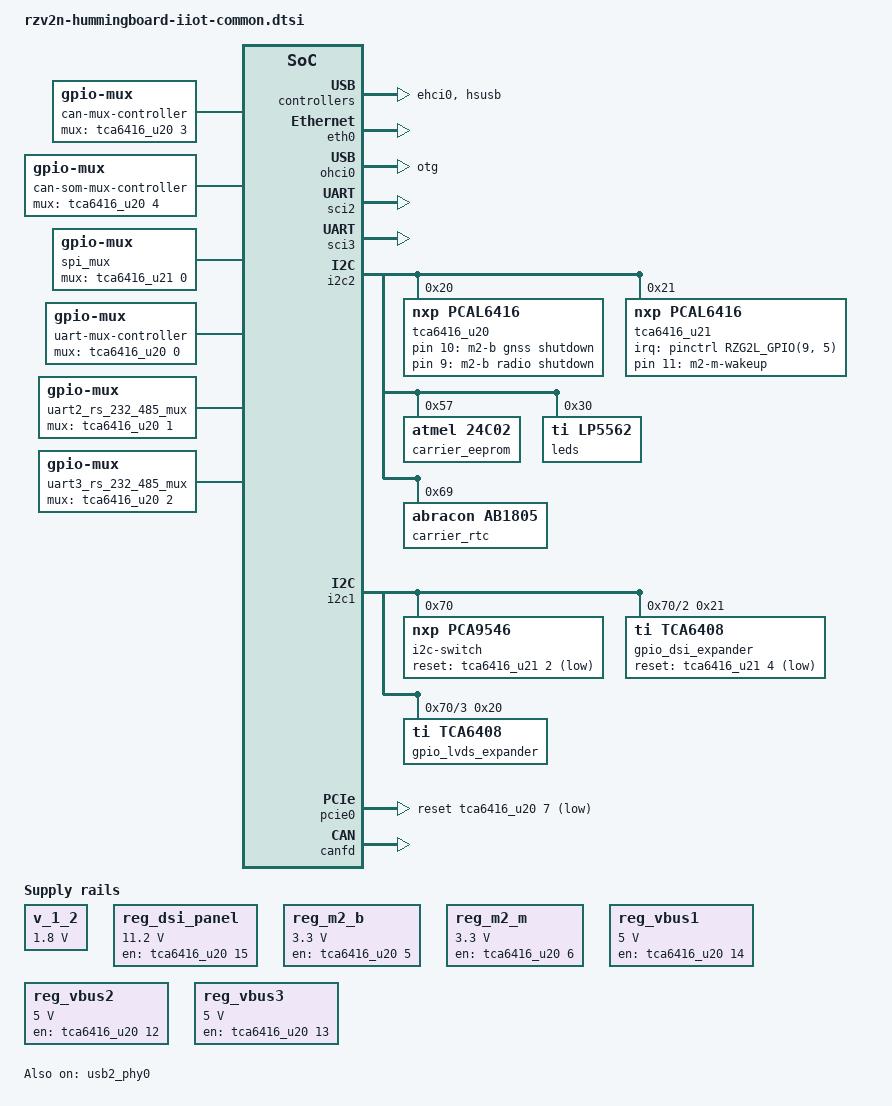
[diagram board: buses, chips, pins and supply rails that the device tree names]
// SPDX-License-Identifier: (GPL-2.0-only OR BSD-2-Clause)
/*
* Device Tree Source for the RZ Solidrun HummingBoard IIoT
*
* Copyright (C) 2025 SolidRun Ltd.
*/

#include <dt-bindings/gpio/gpio.h>
#include <dt-bindings/pinctrl/rzg2l-pinctrl.h>
#include <dt-bindings/leds/common.h>

/ {
	aliases {
		i2c3 = &i2c_exp;
		i2c4 = &i2c_csi;
		i2c5 = &i2c_dsi;
		i2c6 = &i2c_lvds;
		rtc0 = &carrier_rtc;
  		rtc1 = &raa215300; /* pmic_rtc */
		gpio1 = &gpio_dsi_expander;
		gpio2 = &gpio_lvds_expander;
		gpio3 = &tca6416_u20;
		gpio4 = &tca6416_u21;
	};

	v_1_2: regulator-1-2 {
		compatible = "regulator-fixed";
		regulator-name = "1v2";
		regulator-min-microvolt = <1800000>;
		regulator-max-microvolt = <1800000>;
	};

	reg_dsi_panel: regulator-dsi-panel {
		compatible = "regulator-fixed";
		regulator-name = "dsi-panel";
		regulator-min-microvolt = <11200000>;
		regulator-max-microvolt = <11200000>;
		gpios = <&tca6416_u20 15 GPIO_ACTIVE_HIGH>;
		enable-active-high;
	};

	/* power for M.2 B-Key connector (J6) */
	reg_m2_b: regulator-m2-b {
		compatible = "regulator-fixed";
		regulator-name = "m2-b";
		regulator-min-microvolt = <3300000>;
		regulator-max-microvolt = <3300000>;
		gpios = <&tca6416_u20 5 GPIO_ACTIVE_HIGH>;
		enable-active-high;
		regulator-always-on;
	};

	/* power for M.2 M-Key connector (J4) */
	reg_m2_m: regulator-m2-m {
		compatible = "regulator-fixed";
		regulator-name = "m2-m";
		regulator-min-microvolt = <3300000>;
		regulator-max-microvolt = <3300000>;
		gpios = <&tca6416_u20 6 GPIO_ACTIVE_HIGH>;
		enable-active-high;
		regulator-always-on;
	};

	/* power for USB-A J5003 */
	reg_vbus1: regulator-vbus-1 {
		compatible = "regulator-fixed";
		regulator-name = "vbus1";
		gpio = <&tca6416_u20 14 GPIO_ACTIVE_HIGH>;
		regulator-min-microvolt = <5000000>;
		regulator-max-microvolt = <5000000>;
		enable-active-high;
		regulator-always-on;
	};

	/* power for USB-A J27 behind USB Hub Port 3 */
	reg_vbus2: regulator-vbus-2 {
		compatible = "regulator-fixed";
		regulator-name = "vbus2";
		gpio = <&tca6416_u20 12 GPIO_ACTIVE_HIGH>;
		enable-active-high;
		regulator-min-microvolt = <5000000>;
		regulator-max-microvolt = <5000000>;
		regulator-always-on;
	};

	/* power for USB-A J27 behind USB Hub Port 4 */
	reg_vbus3: regulator-vbus-3 {
		compatible = "regulator-fixed";
		regulator-name = "vbus3";
		gpio = <&tca6416_u20 13 GPIO_ACTIVE_HIGH>;
		enable-active-high;
		regulator-min-microvolt = <5000000>;
		regulator-max-microvolt = <5000000>;
		regulator-always-on;
	};

	rfkill-m2-b-gnss {
		compatible = "rfkill-gpio";
		label = "m2-b gnss";
		radio-type = "gps";
		/* rfkill-gpio inverts internally */
		shutdown-gpios = <&tca6416_u20 10 GPIO_ACTIVE_HIGH>;
	};

	rfkill-m2-b-wwan {
		compatible = "rfkill-gpio";
		label = "m2-b radio";
		radio-type = "wwan";
		/* rfkill-gpio inverts internally */
		shutdown-gpios = <&tca6416_u20 9 GPIO_ACTIVE_HIGH>;
	};

	can-mux-controller {
		compatible = "gpio-mux";
		#mux-control-cells = <0>;
		/*
		 * Mux switches both flexcan1 and flexcan2 tx/rx between
		 * expansion connector (J22) and on-board transceivers
		 * using one GPIO: 0 = on-board, 1 connector.
		 */
		mux-gpios = <&tca6416_u20 3 GPIO_ACTIVE_HIGH>;
		/* default on-board */
		idle-state = <0>;
	};

	can-som-mux-controller {
		compatible = "gpio-mux";
		#mux-control-cells = <0>;
		/*
		 * Mux switches can bus between different SoM board-to-board
		 * connector pins which is used to support different SoMs.
		 * RZ/V2N uses J9-55/57 (CANA) and J9-59/61 (CANB) for 2x flexcan.
		 */
		mux-gpios = <&tca6416_u20 4 GPIO_ACTIVE_HIGH>;
		idle-state = <0>;
	};

	spi_mux: spi-mux-controller {
		compatible = "gpio-mux";
		#mux-control-cells = <0>;
		/*
		 * Mux switches spi bus between on-board tpm
		 * and expansion connector (J22).
		 */
		mux-gpios = <&tca6416_u21 0 GPIO_ACTIVE_HIGH>;
		/* default on-board */
		idle-state = <0>;
	};

	uart-mux-controller {
		compatible = "gpio-mux";
		#mux-control-cells = <0>;
		/*
		 * Mux switches both uart2 and uart3 tx/rx between expansion
		 * connector (J22) and on-board rs232/rs485 transceivers
		 * using one GPIO: 0 = on-board, 1 connector.
		 */
		mux-gpios = <&tca6416_u20 0 GPIO_ACTIVE_HIGH>;
		/* default on-board */
		idle-state = <0>;
	};

	uart2_rs_232_485_mux: uart2-rs-232-485-mux-controller {
		compatible = "gpio-mux";
		#mux-control-cells = <0>;
		/*
		 * Mux switches uart2 tx/rx between rs232 and rs485
		 * transceivers. using one GPIO: 0 = rs232; 1 = rs485.
		 */
		mux-gpios = <&tca6416_u20 1 GPIO_ACTIVE_HIGH>;
		/* default rs232 */
		idle-state = <0>;
	};

	uart3_rs_232_485_mux: uart3-rs-232-485-mux-controller {
		compatible = "gpio-mux";
		#mux-control-cells = <0>;
		/*
		 * Mux switches uart3 tx/rx between rs232 and rs485
		 * transceivers. using one GPIO: 0 = rs232; 1 = rs485.
		 */
		mux-gpios = <&tca6416_u20 2 GPIO_ACTIVE_HIGH>;
		/* default rs232 */
		idle-state = <0>;
	};

	gpio-keys {
		compatible = "gpio-keys";
		#address-cells = <1>;
		#size-cells = <0>;
		m2-m-wakeup {
			label = "m2-m-wakeup";
			interrupts-extended = <&tca6416_u21 11 IRQ_TYPE_EDGE_FALLING>;
			linux,code = <KEY_WAKEUP>;
			wakeup-source;
		};
	};
};

&pinctrl {
	spi0_pins_no_ss: spi0 {
		pinmux = <RZG2L_PORT_PINMUX(9, 0, 1)>, /* MOSIA */
		<RZG2L_PORT_PINMUX(9, 1, 1)>, /* MISOA */
		<RZG2L_PORT_PINMUX(9, 2, 1)>; /* RSPCK */
	};

	can0_pins_iiot: can0 {
	pinmux = <RZG2L_PORT_PINMUX(8, 0, 5)>, /* CAN_TX0 */
			<RZG2L_PORT_PINMUX(8, 1, 5)>; /* CAN_RX0 */
	};

	can1_pins_iiot: can1 {
	pinmux = <RZG2L_PORT_PINMUX(8, 2, 5)>, /* CAN_TX1 */
			<RZG2L_PORT_PINMUX(8, 3, 5)>; /* CAN_RX0 */
	};
};

&ehci0 {
	spurious-oc;
	status = "okay";
};

&ehci0 {
	spurious-oc;
	status = "okay";
};

&eth0 {
	status = "okay";
};

&hsusb {
	status = "okay";
};

&ohci0 {
	spurious-oc;
	dr_mode = "otg";
	status = "okay";
};

&usb2_phy0 {
	status = "okay";
};

/* UARTA (UART2) */
&sci2 {
	status = "okay";
};

/* UARTB (UART3) */
&sci3 {
	status = "okay";
};

/* Carrier I2C3 */
&i2c2 {
	status = "okay";

	tca6416_u20: gpio@20 {
		compatible = "nxp,pcal6416";
		reg = <0x20>;
		gpio-controller;
		#gpio-cells = <2>;
		gpio-line-names =
		"TCA_INT/EXT_UART",
		"TCA_UARTA_232/485",
		"TCA_UARTB_232/485",
		"TCA_INT/EXT_CAN",
		"TCA_NXP/REN",
		"TCA_M.2B_3V3_EN",
		"TCA_M.2M_3V3_EN",
		"TCA_M.2M_RESET#",
		"TCA_M.2B_RESET#",
		"TCA_M.2B_W_DIS#",
		"TCA_M.2B_GPS_EN#",
		"TCA_USB-HUB_RST#",
		"TCA_USB_HUB3_PWR_EN",
		"TCA_USB_HUB4_PWR_EN",
		"TCA_USB1_PWR_EN",
		"TCA_VIDEO_PWR_EN";

		/* M.2B-J6 Reset (M.2B_RESET U20_P[10]) */
		m2-b-reset-hog {
			gpio-hog;
			gpios = <8 GPIO_ACTIVE_LOW>;
			output-low;
			line-name = "m2-b-reset";
		};

		TCA_VIDEO_PWR_EN {
			gpio-hog;
			gpios = <15 GPIO_ACTIVE_HIGH>;
			output-high;
			line-name = "TCA_VIDEO_PWR_EN";
		};
	};

	tca6416_u21: gpio@21 {
		compatible = "nxp,pcal6416";
		reg = <0x21>;
		gpio-controller;
		#gpio-cells = <2>;
		interrupt-controller;
		#interrupt-cells = <2>;
		interrupts-extended = <&pinctrl RZG2L_GPIO(9, 5) IRQ_TYPE_LEVEL_LOW>; // IRQ_TYPE_EDGE_FALLING
		gpio-line-names =
		"TCA_SPI_TPM/EXT",
		"TCA_TPM_RST#",
		"TCA_I2C_RST",
		"TCA_RS232_SHTD#",
		"TCA_LCD_I2C_RST",
		"TCA_DIG_OUT1",
		"TCA_bDIG_IN1",
		"TCA_SENS_INT",
		"TCA_ALERT#",
		"TCA_TPM_PIRQ#",
		"TCA_RTC_INT",
		"TCA_M.2M_WAKW_ON_LAN",
		"TCA_M.2M_CLKREQ#",
		"TCA_LVDS_INT#",
		"TCA_NC",
		"TCA_POE_AT";

		rs232_shutdown: rs232-shutdown-hog {
			gpio-hog;
			gpios = <3 GPIO_ACTIVE_LOW>;
			output-low;
			line-name = "rs232-shutdown";
		};

		sensor-irq-hog {
			gpio-hog;
			gpios = <7 (GPIO_ACTIVE_LOW | GPIO_PULL_UP | GPIO_OPEN_DRAIN)>;
			input;
			line-name = "sensor-irq";
		};

		tpm-irq-hog {
			gpio-hog;
			gpios = <9 (GPIO_ACTIVE_LOW | GPIO_PULL_UP | GPIO_OPEN_DRAIN)>;
			input;
			line-name = "tpm-irq";
		};

		m2-m-clkreq-hog {
			gpio-hog;
			gpios = <12 GPIO_ACTIVE_LOW>;
			input;
			line-name = "m2-m-clkreq";
		};

		lvds-irq-hog {
			gpio-hog;
			gpios = <13 (GPIO_ACTIVE_LOW | GPIO_PULL_UP | GPIO_OPEN_DRAIN)>;
			input;
			line-name = "lvds-irq";
		};
	};

	carrier_eeprom: at24c02@57 {
		compatible = "atmel,24c02";
		reg = <0x57>;
	};

	leds: led-controller@30 {
		compatible = "ti,lp5562";
		reg = <0x30>;
		clock-mode = /bits/ 8 <1>;
		#address-cells = <1>;
		#size-cells = <0>;
		pwr-sel = <0>;

		led@0 {
			chan-name = "R";
			led-cur = /bits/ 8 <0x20>;
			max-cur = /bits/ 8 <0x60>;
			reg = <0>;
			color = <LED_COLOR_ID_RED>;
		};

		led@1 {
			chan-name = "G";
			led-cur = /bits/ 8 <0x20>;
			max-cur = /bits/ 8 <0x60>;
			reg = <1>;
			color = <LED_COLOR_ID_GREEN>;
		};

		led@2 {
			chan-name = "B";
			led-cur = /bits/ 8 <0x20>;
			max-cur = /bits/ 8 <0x60>;
			reg = <2>;
			color = <LED_COLOR_ID_BLUE>;
		};

		chan@3 {
			chan-name = "D8";
			led-cur = /bits/ 8 <0x20>;
			max-cur = /bits/ 8 <0x60>;
			reg = <3>;
			color = <LED_COLOR_ID_GREEN>;
		};
	};

	carrier_rtc: am1805@69 {
		compatible = "abracon,ab1805";
		reg = <0x69>;
		abracon,tc-diode = "schottky";
		abracon,tc-resistor = <3>;
	};

	charger: battery-charger@68 {
		// Not assembled
		status = "disabled";
		compatible = "lltc,ltc4162-l";
		reg = <0x68>;
		// lltc,rsnsb-micro-ohms = <10000>;
		// lltc,rsnsi-micro-ohms = <16000>;
		// lltc,cell-count = <2>;
	};

	accelerometer: accelerometer@53 {
		// Not assembled
		status = "disabled";
		compatible = "adi,adxl345";
		reg = <0x53>;
		interrupt-parent = <&tca6416_u21>;
		interrupts = <7 IRQ_TYPE_LEVEL_HIGH>;
	};

	ambient_light: ambient_light@44 {
		// Not assembled
		status = "disabled";
		compatible = "isil,isl29023";
		reg = <0x44>;
		interrupt-parent = <&tca6416_u21>;
		interrupts = <7 IRQ_TYPE_LEVEL_HIGH>;
	};
};

/* Carrier I2C2 */
&i2c1 {
	status = "okay";
	i2c-switch@70 {
		compatible = "nxp,pca9546";
		reg = <0x70>;
		#address-cells = <1>;
		#size-cells = <0>;
		reset-gpios = <&tca6416_u21 2 GPIO_ACTIVE_LOW>;

		i2c_exp: i2c@0 {
			#address-cells = <1>;
			#size-cells = <0>;
			reg = <0>;
		};

		i2c_csi: i2c@1 {
			#address-cells = <1>;
			#size-cells = <0>;
			reg = <1>;
		};

		i2c_dsi: i2c@2 {
			#address-cells = <1>;
			#size-cells = <0>;
			reg = <2>;

			/* tca6408_u48 */
			gpio_dsi_expander: gpio@21 {
				compatible = "ti,tca6408";
				reg = <0x21>;
				gpio-controller;
				#gpio-cells = <2>;
				reset-gpios = <&tca6416_u21 4 GPIO_ACTIVE_LOW>;
				gpio-line-names =
				"CAM_RST#",
				"DSI_RESET",
				"DSI_STBYB",
				"DSI_PWM_BL",
				"DSI_L/R",
				"DSI_U/D",
				"DSI_CTP_/RST",
				"CAM_TRIG";
			};
		};
		
		i2c_lvds: i2c@3 {
			#address-cells = <1>;
			#size-cells = <0>;
			reg = <3>;

			/* tca6408_u37 */
			gpio_lvds_expander: gpio@20 {
				compatible = "ti,tca6408";
				reg = <0x20>;
				gpio-controller;
				#gpio-cells = <2>;
				gpio-line-names = "SELB", "LVDS_RESET",
						  "LVDS_STBYB", "LVDS_PWM_BL",
						  "LVDS_L/R", "LVDS_U/D",
						  "LVDS_CTP_/RST", "";
			};
		};
	};
};

&spi0 {
	num-cs = <1>;
	pinctrl-names = "default";
	pinctrl-0 = <&spi0_pins_no_ss>;
	cs-gpios = <&pinctrl RZG2L_GPIO(9, 3) GPIO_ACTIVE_LOW>;
	status = "disabled";

	spi_muxed: spi@0 {
		compatible = "spi-mux";
		reg = <0>;
		#address-cells = <1>;
		#size-cells = <0>;
		/* mux bandwidth is 2GHz, soc max. spi clock is P0/2 = 50MHz */
		spi-max-frequency = <50000000>;
		mux-controls = <&spi_mux>;

		/* ---- TPM on SPI channel 0 ---- */
		spi_carrier_tpm: tpm@0 {
			compatible = "infineon,slb9670", "tcg,tpm_tis-spi";
			reg = <0>;
			spi-max-frequency = <43000000>;
			reset-gpios = <&tca6416_u21 1 (GPIO_ACTIVE_LOW  | GPIO_OPEN_DRAIN)>;
			interrupts-extended = <&tca6416_u21 9 IRQ_TYPE_LEVEL_LOW>;
		};

		/* ---- Optional spidev on channel 1 ---- */
		/*
		spi_carrier_conn: spi@1 {
			compatible = "spidev";
			reg = <1>;
		};
		*/
	};
};

&pcie0 {
	reset-gpios = <&tca6416_u20 7 GPIO_ACTIVE_LOW>;
	status = "okay";
};

&canfd {
	pinctrl-0 = <&can0_pins_iiot &can1_pins_iiot>;
	pinctrl-names = "default";
	status = "okay";

	channel0 {
		renesas,channel = <0>;
		status = "okay";
	};

	channel1 {
		renesas,channel = <1>;
		status = "okay";
	};
};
